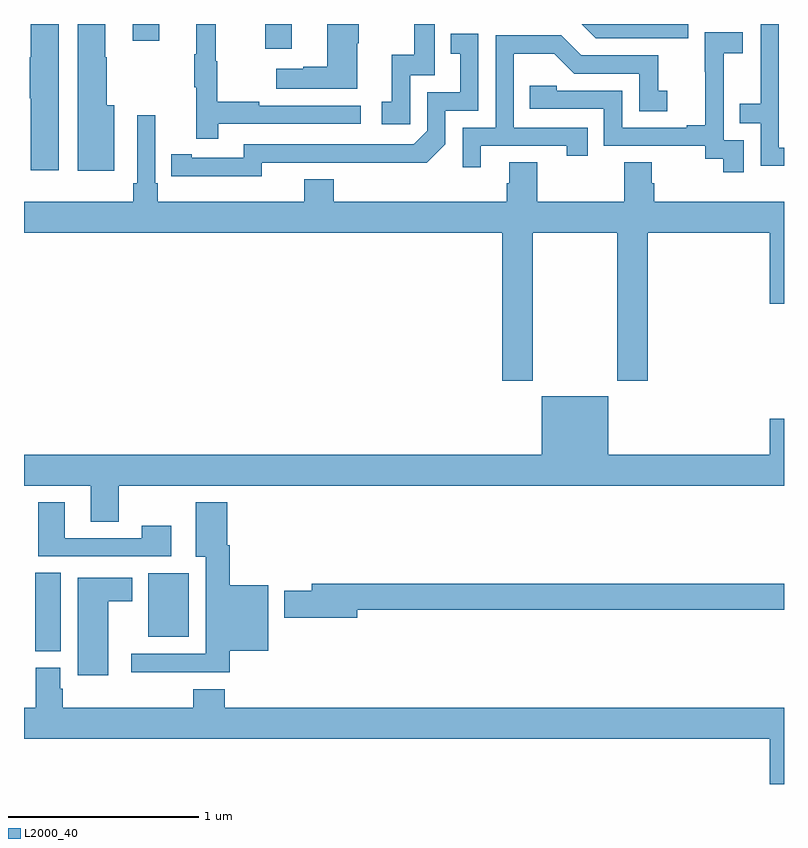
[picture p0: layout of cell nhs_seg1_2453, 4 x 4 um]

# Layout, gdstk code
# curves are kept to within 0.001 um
import gdstk
lib = gdstk.Library(unit=1e-6, precision=1e-09)
def R(c, l, rs):  # rectangles x0, y0, x1, y1
    for r in rs: c.add(gdstk.rectangle(r[:2], r[2:], *l))
def P(c, l, *ps):  # polygons
    for p in ps: c.add(gdstk.Polygon(p, *l))
L2000_40 = (2000, 40)

nhs_seg1_2453 = lib.new_cell('nhs_seg1_2453')
R(nhs_seg1_2453, L2000_40, [(245.06,514.897,245.194,515.312), (245.654,514.973,245.866,515.308), (246.269,518.07,246.409,518.199), (245.573,518.112,245.713,518.199)])
P(nhs_seg1_2453, L2000_40, [(245.182,518.199),(245.036,518.199),(245.036,518.024),(245.029,518.024),(245.029,517.807),(245.036,517.807),(245.036,517.428),(245.182,517.428)],
  [(246.023,517.674),(246.772,517.674),(246.772,517.77),(246.239,517.77),(246.239,517.79),(246.016,517.79),(246.016,518.004),(246.008,518.004),(246.008,518.199),(245.906,518.199),(245.906,518.041),(245.895,518.041),(245.895,517.867),(245.906,517.867),(245.906,517.596),(246.023,517.596)],
  [(245.476,517.771),(245.436,517.771),(245.436,518.024),(245.428,518.024),(245.428,518.199),(245.282,518.199),(245.282,517.427),(245.476,517.427)],
  [(249,517.548),(248.973,517.548),(248.973,518.199),(248.877,518.199),(248.877,517.778),(248.767,517.778),(248.767,517.677),(248.877,517.677),(248.877,517.452),(249,517.452)],
  [(248.496,518.199),(247.935,518.199),(248.01,518.124),(248.496,518.124)],
  [(247.032,517.929),(247.161,517.929),(247.161,518.199),(247.053,518.199),(247.053,518.038),(246.935,518.038),(246.935,517.791),(246.882,517.791),(246.882,517.671),(247.032,517.671)],
  [(246.754,518.099),(246.762,518.099),(246.762,518.199),(246.596,518.199),(246.596,517.973),(246.47,517.973),(246.47,517.963),(246.327,517.963),(246.327,517.859),(246.754,517.859)],
  [(248.787,517.587),(248.682,517.587),(248.682,517.817),(248.684,517.817),(248.684,518.045),(248.782,518.045),(248.782,518.155),(248.584,518.155),(248.584,517.949),(248.585,517.949),(248.585,517.666),(248.489,517.666),(248.489,517.653),(248.148,517.653),(248.148,517.848),(247.803,517.848),(247.803,517.875),(247.663,517.875),(247.663,517.752),(248.052,517.752),(248.052,517.557),(248.586,517.557),(248.586,517.489),(248.679,517.489),(248.679,517.419),(248.787,517.419)],
  [(246.252,517.47),(247.12,517.469),(247.218,517.566),(247.218,517.743),(247.392,517.743),(247.392,518.149),(247.246,518.149),(247.246,518.043),(247.295,518.043),(247.295,517.839),(247.122,517.839),(247.122,517.638),(247.05,517.566),(246.156,517.566),(246.156,517.494),(245.884,517.494),(245.884,517.514),(245.776,517.514),(245.776,517.398),(246.252,517.397)],
  [(247.405,517.557),(247.856,517.557),(247.856,517.506),(247.967,517.506),(247.967,517.653),(247.578,517.653),(247.578,518.042),(247.792,518.042),(247.896,517.938),(248.238,517.938),(248.238,517.74),(248.386,517.74),(248.386,517.849),(248.337,517.849),(248.337,518.034),(247.933,518.034),(247.828,518.139),(247.482,518.139),(247.482,517.653),(247.308,517.653),(247.308,517.446),(247.405,517.446)],
  [(247.677,517.1),(248.122,517.1),(248.122,516.321),(248.282,516.321),(248.282,517.1),(248.924,517.1),(248.924,516.726),(249,516.726),(249,517.264),(248.318,517.264),(248.318,517.362),(248.305,517.362),(248.305,517.472),(248.158,517.472),(248.158,517.264),(247.701,517.264),(247.701,517.472),(247.553,517.472),(247.553,517.362),(247.541,517.362),(247.541,517.264),(246.629,517.264),(246.629,517.381),(246.476,517.381),(246.476,517.264),(245.705,517.264),(245.705,517.36),(245.691,517.36),(245.691,517.72),(245.595,517.72),(245.595,517.36),(245.575,517.36),(245.575,517.264),(245,517.264),(245,517.1),(247.517,517.1),(247.517,516.321),(247.677,516.321)],
  [(245.499,515.768),(249,515.768),(249,516.121),(248.924,516.121),(248.924,515.932),(248.074,515.932),(248.074,516.241),(247.724,516.241),(247.724,515.932),(245,515.932),(245,515.768),(245.351,515.768),(245.351,515.578),(245.499,515.578)],
  [(246.083,514.901),(246.286,514.901),(246.286,515.245),(246.083,515.245),(246.083,515.456),(246.07,515.456),(246.07,515.683),(245.903,515.683),(245.903,515.396),(245.957,515.396),(245.957,514.884),(245.565,514.884),(245.565,514.787),(246.083,514.787)],
  [(245.776,515.557),(245.62,515.557),(245.62,515.493),(245.215,515.493),(245.215,515.683),(245.075,515.683),(245.075,515.397),(245.776,515.397)],
  [(245.443,515.162),(245.569,515.162),(245.569,515.284),(245.282,515.284),(245.282,514.772),(245.443,514.772)],
  [(246.754,515.116),(249,515.116),(249,515.252),(246.515,515.252),(246.515,515.216),(246.371,515.216),(246.371,515.074),(246.754,515.074)],
  [(249,514.6),(246.056,514.6),(246.056,514.699),(245.891,514.699),(245.891,514.6),(245.204,514.6),(245.204,514.701),(245.191,514.701),(245.191,514.812),(245.063,514.812),(245.063,514.6),(245,514.6),(245,514.436),(248.924,514.436),(248.924,514.199),(249,514.199)])

lib.write_gds('nhs_seg1_2453.gds')
